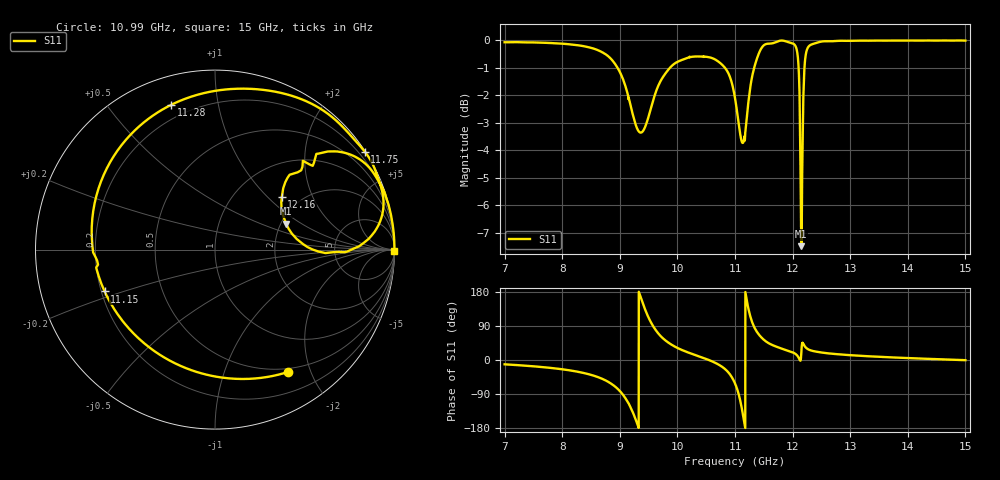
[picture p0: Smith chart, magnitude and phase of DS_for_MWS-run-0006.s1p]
! TOUCHSTONE file generated by CST DESIGN STUDIO
! Date and time: Mon Feb 10 16:52:23 2025
! Project name: C:\Work\MatlabApps\UnitCellType2OptimizationMatlab\CST\unitcell.cst
! Tree item: Tasks\Sweep1\SPara1\S-Parameters
! Header version: 2024
! Port assignment regex: !\s*Touchstone port\s*([0-9]+)\s*=\s*(CST MWS port|CST DES external port|CST DES block port)\s*(.+)\s* \(\"(.*)\"\)(\s*mode\s*([0-9]+))?.*
! Touchstone port assignment:
! Touchstone port 1 = CST DES external port 1 ("")
# GHz S MA R 50
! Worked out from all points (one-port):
!   4001 points, 7 GHz to 15 GHz, reference 50 ohm
!   lowest |S11| = -7.5 dB at 12.15 GHz (marker M1), VSWR 2.46, Z = 107 + j37.6 ohm
!   |S11| at or under -10 dB: nowhere
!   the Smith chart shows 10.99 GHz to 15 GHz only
!   S11 on the Smith chart (normalised r, x): 10.99 GHz: 0.45, -1.67; 11.15 GHz: 0.21, -0.17; 11.28 GHz: 0.13, +0.73; 11.75 GHz: 0.02, +3.35; 12.16 GHz: 1.62, +1.22; 15 GHz: open
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7  0.9926 -11.4
8  0.9866 -24.5
8.636  0.9584 -46.1
9  0.8764 -81.7
9.174  0.7716 -121.0
9.344  0.6804 173.8
9.462  0.7059 124.7
9.578  0.777 89.5
10  0.9141 31.8
10.692  0.9182 -10.2
10.874  0.8759 -30.9
10.992  0.7942 -59.0
11  0.7855 -61.8
11.084  0.682 -102.5
11.154  0.6576 -159.3
11.208  0.7298 153.7
11.282  0.8427 106.8
11.472  0.9727 57.4
11.752  0.997 33.2
12  0.9878 20.3
12.084  0.9457 11.1
12.152  0.4219 20.1
12.16  0.4732 38.1
12.208  0.9008 36.8
12.316  0.982 25.3
13  0.9985 12.7
14  0.9998 5.1
15  0.9994 -0.5
